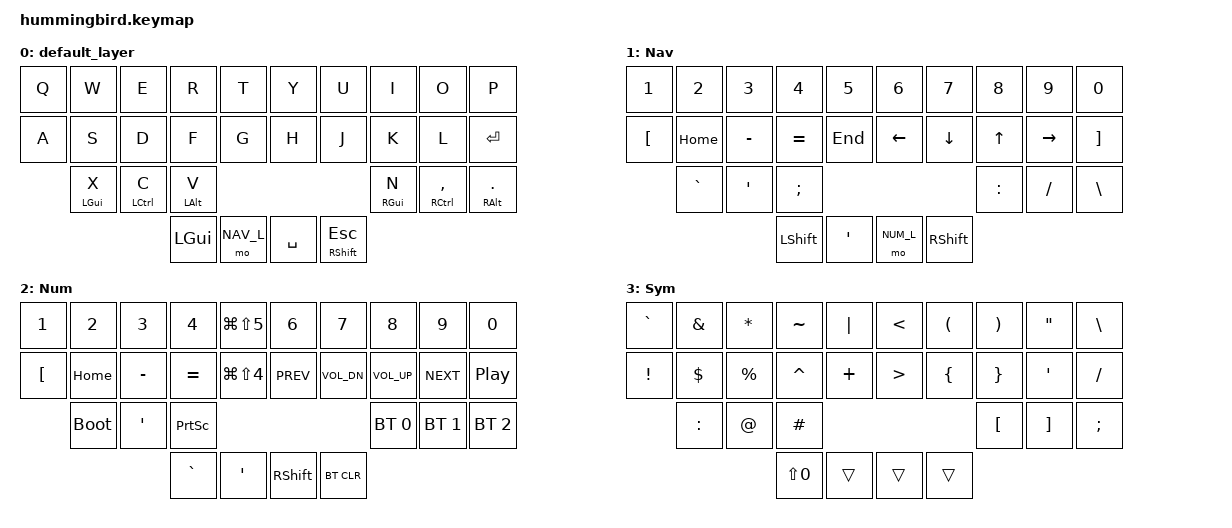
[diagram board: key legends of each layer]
/*
 * Copyright (c) 2022 The ZMK Contributors
 *
 * SPDX-License-Identifier: MIT
 */

#include <behaviors.dtsi>
#include <dt-bindings/zmk/bt.h>
#include <dt-bindings/zmk/keys.h>

#define DEF_L 0
#define NAV_L 1
#define NUM_L 2
#define SYM_L 3
#define COMBO 70

// Using layer taps on thumbs, having quick tap as well helps w/ repeating space/backspace

&lt {
    quick_tap_ms = <200>;
};

/ {
    behaviors {
        hm: homerow_mods {
            compatible = "zmk,behavior-hold-tap";
            label = "homerow mods";
            #binding-cells = <2>;
            tapping-term-ms = <225>;
            flavor = "tap-preferred";
            bindings =
                <&kp>,
                <&kp>;
        };
    };

    combos {
        compatible = "zmk,combos";

        combo_b {
            timeout-ms = <COMBO>;
            key-positions = <22 13>;
            bindings = <&kp B>;
        };
        combo_m {
            timeout-ms = <COMBO>;
            key-positions = <23 16>;
            bindings = <&kp M>;
        };

        combo_z {
            timeout-ms = <COMBO>;
            key-positions = <0 10>;
            bindings = <&kp Z>;
        };

        combo_tab {
            timeout-ms = <COMBO>;
            key-positions = <12 13>;
            bindings = <&kp TAB>;
        };
        
        combo_backspace {
            timeout-ms = <COMBO>;
            key-positions = <16 17>;
            bindings = <&kp BSPC>;
        };
        
        combo_del {
            timeout-ms = <COMBO>;
            key-positions = <17 18>;
        bindings = <&kp DEL>;
        };

        combo_del_word {
            timeout-ms = <COMBO>;
            key-positions = <16 17 18>;
            bindings = <&kp LA(LC(BSPC))>;
        };
        
        combo_f12 {
            timeout-ms = <COMBO>;
            key-positions = <7 8>;
            bindings = <&kp F12>;
        };
        
        combo_lbkt {
            timeout-ms = <COMBO>;
            key-positions = <12 21>;
            bindings = <&kp LBKT>;
        };

        combo_rbkt {
            timeout-ms = <COMBO>;
            key-positions = <17 24>;
            bindings = <&kp RBKT>;
        };
    };

    keymap {
        compatible = "zmk,keymap";

        default_layer {
            bindings = <
                &kp Q  &kp W  &kp E   &kp R     &kp T          &kp Y  &kp U     &kp I  &kp O  &kp P
                &kp A  &kp S  &kp D   &kp F     &kp G          &kp H  &kp J     &kp K  &kp L  &kp ENTER
                    &hm LGUI X  &hm LCTRL C   &hm LALT V        &hm RGUI N  &hm RCTRL COMMA  &hm RALT DOT
                                      &kp LGUI  &mo NAV_L      &kp SPACE &mt RSHIFT ESC
            >;
        };

        nav_layer {
            label = "Nav";
            bindings = <
                &kp N1  &kp N2   &kp N3     &kp N4     &kp N5          &kp N6    &kp N7  &kp N8    &kp N9  &kp N0
                &kp LBKT  &kp HOME &kp MINUS  &kp EQUAL  &kp END     &kp LEFT  &kp DOWN      &kp UP  &kp RIGHT  &kp RBKT
                                &kp GRAVE  &kp SQT    &kp SEMI               &kp COLON  &kp SLASH  &kp BSLH
                                     &kp LSHIFT  &kp SQT        &mo NUM_L &kp RSHIFT
            >;
        };

        num_layer {
            label = "Num";
            bindings = <
                &kp N1    &kp N2   &kp N3     &kp N4     &kp LG(LS(N5))      &kp N6    &kp N7       &kp N8      &kp N9  &kp N0
                &kp LBKT  &kp HOME &kp MINUS  &kp EQUAL  &kp LG(LS(N4))     &kp C_PREV &kp C_VOL_DN &kp C_VOL_UP &kp C_NEXT &kp C_PP
                             &bootloader  &kp SQT    &kp PRINTSCREEN            &bt BT_SEL 0 &bt BT_SEL 1 &bt BT_SEL 2
                                                &kp GRAVE  &kp SQT       &kp RSHIFT      &bt BT_CLR
            >;
        };

        sym_layer {
            label = "Sym";
            bindings = <
&kp GRAVE  &kp AMPERSAND  &kp ASTERISK   &kp TILDE  &kp PIPE       &kp LESS_THAN  &kp LEFT_PARENTHESIS           &kp RPAR  &kp DOUBLE_QUOTES   &kp BSLH
 &kp EXCL     &kp DOLLAR   &kp PERCENT   &kp CARET  &kp PLUS    &kp GREATER_THAN        &kp LEFT_BRACE    &kp RIGHT_BRACE   &kp SINGLE_QUOTE  &kp SLASH
               &kp COLON   &kp AT_SIGN    &kp HASH                                    &kp LEFT_BRACKET  &kp RIGHT_BRACKET      &kp SEMICOLON
                                        &kp LS(N0)    &trans              &trans                &trans
            >;
        };
    };
};
